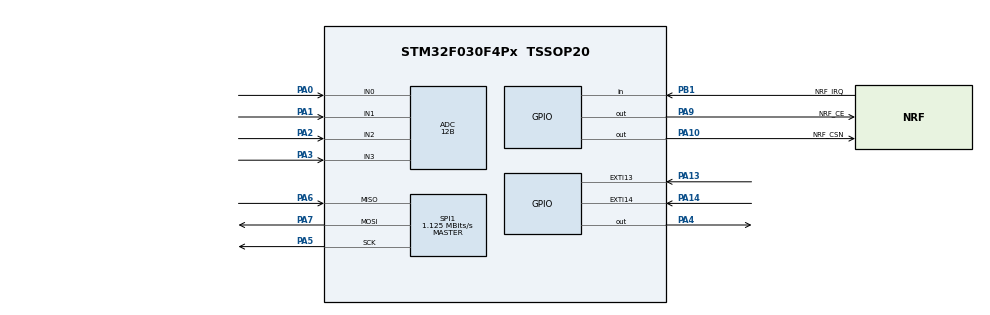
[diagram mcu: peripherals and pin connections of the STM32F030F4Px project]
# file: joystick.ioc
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ADC.ClockPrescaler=ADC_CLOCK_ASYNC_DIV1
ADC.ContinuousConvMode=ENABLE
ADC.DMAContinuousRequests=ENABLE
ADC.DataAlign=ADC_DATAALIGN_RIGHT
ADC.DiscontinuousConvMode=DISABLE
ADC.EOCSelection=ADC_EOC_SINGLE_CONV
ADC.EnableAnalogWatchDog=false
ADC.ExternalTrigConv=ADC_SOFTWARE_START
ADC.ExternalTrigConvEdge=ADC_EXTERNALTRIGCONVEDGE_NONE
ADC.LowPowerAutoPowerOff=DISABLE
ADC.LowPowerAutoWait=DISABLE
ADC.Overrun=ADC_OVR_DATA_PRESERVED
ADC.Resolution=ADC_RESOLUTION_12B
ADC.SamplingTime=ADC_SAMPLETIME_239CYCLES_5
ADC.ScanConvMode=ADC_SCAN_DIRECTION_FORWARD
Dma.ADC.0.Direction=DMA_PERIPH_TO_MEMORY
Dma.ADC.0.Instance=DMA1_Channel1
Dma.ADC.0.MemDataAlignment=DMA_MDATAALIGN_WORD
Dma.ADC.0.MemInc=DMA_MINC_ENABLE
Dma.ADC.0.Mode=DMA_CIRCULAR
Dma.ADC.0.PeriphDataAlignment=DMA_PDATAALIGN_WORD
Dma.ADC.0.PeriphInc=DMA_PINC_DISABLE
Dma.ADC.0.Priority=DMA_PRIORITY_HIGH
Dma.Request0=ADC
Mcu.Family=STM32F0
Mcu.Name=STM32F030F4Px
Mcu.Package=TSSOP20
NVIC.DMA1_Channel1_IRQn=true\:0\:0\:false\:false\:true\:false
NVIC.EXTI4_15_IRQn=true\:1\:0\:true\:true\:true\:1\:true
PA0.GPIO_Mode=GPIO_MODE_ANALOG
PA0.GPIO_PuPd=GPIO_NOPULL
PA0.Mode=IN0
PA0.Signal=ADC_IN0
PA1.GPIO_Mode=GPIO_MODE_ANALOG
PA1.GPIO_PuPd=GPIO_NOPULL
PA1.Mode=IN1
PA1.Signal=ADC_IN1
PA10.GPIO_FMA10=SYSCFG_CFGR1_I2C_FMP_PA10
PA10.GPIO_Label=NRF_CSN
PA10.GPIO_ModeDefaultOutputPP=GPIO_MODE_OUTPUT_PP
PA10.GPIO_PuPd=GPIO_NOPULL
PA10.GPIO_Speed=GPIO_SPEED_FREQ_HIGH
PA10.PinState=GPIO_PIN_RESET
PA10.Signal=GPIO_Output
PA13.GPIO_ModeDefaultEXTI=GPIO_MODE_IT_FALLING
PA13.GPIO_PuPd=GPIO_PULLUP
PA13.Signal=GPXTI13
PA14.GPIO_ModeDefaultEXTI=GPIO_MODE_IT_RISING
PA14.GPIO_PuPd=GPIO_PULLDOWN
PA14.Signal=GPXTI14
PA2.GPIO_Mode=GPIO_MODE_ANALOG
PA2.GPIO_PuPd=GPIO_NOPULL
PA2.Mode=IN2
PA2.Signal=ADC_IN2
PA3.GPIO_Mode=GPIO_MODE_ANALOG
PA3.GPIO_PuPd=GPIO_NOPULL
PA3.Mode=IN3
PA3.Signal=ADC_IN3
PA4.GPIO_ModeDefaultOutputPP=GPIO_MODE_OUTPUT_PP
PA4.GPIO_PuPd=GPIO_NOPULL
PA4.GPIO_Speed=GPIO_SPEED_FREQ_HIGH
PA4.PinState=GPIO_PIN_RESET
PA4.Signal=GPIO_Output
PA5.Mode=Full_Duplex_Master
PA5.Signal=SPI1_SCK
PA6.Mode=Full_Duplex_Master
PA6.Signal=SPI1_MISO
PA7.Mode=Full_Duplex_Master
PA7.Signal=SPI1_MOSI
PA9.GPIO_FMA9=SYSCFG_CFGR1_I2C_FMP_PA9
PA9.GPIO_Label=NRF_CE
PA9.GPIO_ModeDefaultOutputPP=GPIO_MODE_OUTPUT_PP
PA9.GPIO_PuPd=GPIO_NOPULL
PA9.GPIO_Speed=GPIO_SPEED_FREQ_HIGH
PA9.PinState=GPIO_PIN_RESET
PA9.Signal=GPIO_Output
PB1.GPIO_Label=NRF_IRQ
PB1.GPIO_Mode=GPIO_MODE_INPUT
PB1.GPIO_PuPd=GPIO_NOPULL
PB1.Signal=GPIO_Input
PF0-OSC_IN.Mode=HSE-External-Oscillator
PF0-OSC_IN.Signal=RCC_OSC_IN
PF1-OSC_OUT.Mode=HSE-External-Oscillator
PF1-OSC_OUT.Signal=RCC_OSC_OUT
ProjectManager.HeapSize=0x200
ProjectManager.StackSize=0x400
ProjectManager.TargetToolchain=MDK-ARM V5
RCC.AHBFreq_Value=36000000
RCC.APB1CLKDivider=RCC_HCLK_DIV2
RCC.APB1Freq_Value=18000000
RCC.APB1TimFreq_Value=36000000
RCC.EnbaleCSS=true
RCC.HCLKFreq_Value=36000000
RCC.PLLDivider=RCC_PREDIV_DIV2
RCC.PLLMUL=RCC_PLL_MUL9
RCC.PLLSourceVirtual=RCC_PLLSOURCE_HSE
RCC.SYSCLKFreq_VALUE=36000000
RCC.SYSCLKSource=RCC_SYSCLKSOURCE_PLLCLK
SPI1.BaudRatePrescaler=SPI_BAUDRATEPRESCALER_16
SPI1.CLKPhase=SPI_PHASE_1EDGE
SPI1.CLKPolarity=SPI_POLARITY_LOW
SPI1.CalculateBaudRate=1.125 MBits/s
SPI1.DataSize=SPI_DATASIZE_8BIT
SPI1.Direction=SPI_DIRECTION_2LINES
SPI1.Mode=SPI_MODE_MASTER
SPI1.NSSPMode=SPI_NSS_PULSE_DISABLE
SPI1.VirtualType=VM_MASTER
board=joystick

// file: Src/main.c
/**
  ******************************************************************************
  * @file           : main.c
  * @brief          : Main program body
  ******************************************************************************
  ** This notice applies to any and all portions of this file
  * that are not between comment pairs USER CODE BEGIN and
  * USER CODE END. Other portions of this file, whether
  * inserted by the user or by software development tools
  * are owned by their respective copyright owners.
  *
  * COPYRIGHT(c) 2018 STMicroelectronics
  *
  * Redistribution and use in source and binary forms, with or without modification,
  * are permitted provided that the following conditions are met:
  *   1. Redistributions of source code must retain the above copyright notice,
  *      this list of conditions and the following disclaimer.
  *   2. Redistributions in binary form must reproduce the above copyright notice,
  *      this list of conditions and the following disclaimer in the documentation
  *      and/or other materials provided with the distribution.
  *   3. Neither the name of STMicroelectronics nor the names of its contributors
  *      may be used to endorse or promote products derived from this software
  *      without specific prior written permission.
  *
  * THIS SOFTWARE IS PROVIDED BY THE COPYRIGHT HOLDERS AND CONTRIBUTORS "AS IS"
  * AND ANY EXPRESS OR IMPLIED WARRANTIES, INCLUDING, BUT NOT LIMITED TO, THE
  * IMPLIED WARRANTIES OF MERCHANTABILITY AND FITNESS FOR A PARTICULAR PURPOSE ARE
  * DISCLAIMED. IN NO EVENT SHALL THE COPYRIGHT HOLDER OR CONTRIBUTORS BE LIABLE
  * FOR ANY DIRECT, INDIRECT, INCIDENTAL, SPECIAL, EXEMPLARY, OR CONSEQUENTIAL
  * DAMAGES (INCLUDING, BUT NOT LIMITED TO, PROCUREMENT OF SUBSTITUTE GOODS OR
  * SERVICES; LOSS OF USE, DATA, OR PROFITS; OR BUSINESS INTERRUPTION) HOWEVER
  * CAUSED AND ON ANY THEORY OF LIABILITY, WHETHER IN CONTRACT, STRICT LIABILITY,
  * OR TORT (INCLUDING NEGLIGENCE OR OTHERWISE) ARISING IN ANY WAY OUT OF THE USE
  * OF THIS SOFTWARE, EVEN IF ADVISED OF THE POSSIBILITY OF SUCH DAMAGE.
  *
  ******************************************************************************
  */
#include "main.h"
#include "stm32f0xx_hal.h"

/* USER CODE BEGIN Includes */
#include "BSP_NRF24L01.h"
#include "BSP_LED.h"
/* USER CODE END Includes */

ADC_HandleTypeDef hadc;
DMA_HandleTypeDef hdma_adc;

SPI_HandleTypeDef hspi1;

/* USER CODE BEGIN PV */
/* Private variables ---------------------------------------------------------*/
uint32_t ADC_Data[4];//12bits

uint8_t  J_LX_HF,J_LX_LE,J_LY_HF,J_LY_LE,J_RX_HF,J_RX_LE,J_RY_HF,J_RY_LE;//HF:High 4 bits  LE: Low 8 bits
uint8_t  Control=0;//0: NO Control and Do Nothing; 1:Start Fly and RemoteControl; 2:Stop Fly and Stay where it were ; 3:Stop ALL Motor;
uint8_t  Joy_Key_CON[9];
/* USER CODE END PV */

void SystemClock_Config(void);
static void MX_GPIO_Init(void);
static void MX_DMA_Init(void);
static void MX_SPI1_Init(void);
static void MX_ADC_Init(void);
static void MX_NVIC_Init(void);

/* USER CODE BEGIN PFP */
/* Private function prototypes -----------------------------------------------*/

/* USER CODE END PFP */

int main(void)
{

  /* MCU Configuration----------------------------------------------------------*/

  /* Reset of all peripherals, Initializes the Flash interface and the Systick. */
  HAL_Init();

  /* Configure the system clock */
  SystemClock_Config();

  /* Initialize all configured peripherals */
  MX_GPIO_Init();
  MX_DMA_Init();
  MX_SPI1_Init();
  MX_ADC_Init();

  /* Initialize interrupts */
  MX_NVIC_Init();
  /* USER CODE BEGIN 2 */

  while(NRF24L01_Check())
   {
	 ;
	 }
  Blink_LED(50,3);

  NRF24L01_TX_Mode();

  HAL_ADCEx_Calibration_Start(&hadc);
  HAL_ADC_Start_DMA(&hadc,ADC_Data,4);
  /* USER CODE END 2 */

  /* Infinite loop */
  while (1)
  {

  /* USER CODE BEGIN 3 */
	    switch(Control)
	   	{
	          case 0:
                         Joy_Key_CON[0]=Control;
                         if( NRF24L01_TxPacket( Joy_Key_CON )!=TX_OK)
		           {
		             Blink_LED(20,3);
		           }
                   break;

		  case 1:
			 J_LX_HF=(ADC_Data[0]&0xF00)>>8;
			 J_LX_LE=ADC_Data[0]&0xFF;
			 J_LY_HF=(ADC_Data[1]&0xF00)>>8;
			 J_LY_LE=ADC_Data[1]&0xFF;
			 J_RX_HF=(ADC_Data[2]&0xF00)>>8;
			 J_RX_LE=ADC_Data[2]&0xFF;
			 J_RY_HF=(ADC_Data[3]&0xF00)>>8;
			 J_RY_LE=ADC_Data[3]&0xFF;

			 Joy_Key_CON[0]=Control;
			 Joy_Key_CON[1]=J_LX_HF;
			 Joy_Key_CON[2]=J_LX_LE;
			 Joy_Key_CON[3]=J_LY_HF;
			 Joy_Key_CON[4]=J_LY_LE;
			 Joy_Key_CON[5]=J_RX_HF;
			 Joy_Key_CON[6]=J_RX_LE;
			 Joy_Key_CON[7]=J_RY_HF;
			 Joy_Key_CON[8]=J_RY_LE;
				if( NRF24L01_TxPacket( Joy_Key_CON )!=TX_OK)
						{
						 Blink_LED(20,3);
						}
		 break;

		case 2:
           Joy_Key_CON[0]=Control;
	         if( NRF24L01_TxPacket( Joy_Key_CON )!=TX_OK)
		       {
			       Blink_LED(20,3);
		       }
		 break;

	  	}

  }
  /* USER CODE END 3 */

}

void SystemClock_Config(void)
{

  LL_FLASH_SetLatency(LL_FLASH_LATENCY_1);

  if(LL_FLASH_GetLatency() != LL_FLASH_LATENCY_1)
  {
  Error_Handler();
  }
  LL_RCC_HSE_Enable();

   /* Wait till HSE is ready */
  while(LL_RCC_HSE_IsReady() != 1)
  {

  }
  LL_RCC_HSI14_Enable();

   /* Wait till HSI14 is ready */
  while(LL_RCC_HSI14_IsReady() != 1)
  {

  }
  LL_RCC_HSI14_SetCalibTrimming(16);

  LL_RCC_HSE_EnableCSS();

  LL_RCC_PLL_ConfigDomain_SYS(LL_RCC_PLLSOURCE_HSE_DIV_2, LL_RCC_PLL_MUL_9);

  LL_RCC_PLL_Enable();

   /* Wait till PLL is ready */
  while(LL_RCC_PLL_IsReady() != 1)
  {

  }
  LL_RCC_SetAHBPrescaler(LL_RCC_SYSCLK_DIV_1);

  LL_RCC_SetAPB1Prescaler(LL_RCC_APB1_DIV_2);

  LL_RCC_SetSysClkSource(LL_RCC_SYS_CLKSOURCE_PLL);

   /* Wait till System clock is ready */
  while(LL_RCC_GetSysClkSource() != LL_RCC_SYS_CLKSOURCE_STATUS_PLL)
  {

  }
  LL_Init1msTick(36000000);

  LL_SYSTICK_SetClkSource(LL_SYSTICK_CLKSOURCE_HCLK);

  LL_SetSystemCoreClock(36000000);

  LL_RCC_HSI14_EnableADCControl();

  /* SysTick_IRQn interrupt configuration */
  NVIC_SetPriority(SysTick_IRQn, 0);
}

/**
  * @brief NVIC Configuration.
  * @retval None
  */
static void MX_NVIC_Init(void)
{
  /* EXTI4_15_IRQn interrupt configuration */
  NVIC_SetPriority(EXTI4_15_IRQn, 1);
  NVIC_EnableIRQ(EXTI4_15_IRQn);
}

/* ADC init function */
static void MX_ADC_Init(void)
{

  ADC_ChannelConfTypeDef sConfig;

    /**Configure the global features of the ADC (Clock, Resolution, Data Alignment and number of conversion)
    */
  hadc.Instance = ADC1;
  hadc.Init.ClockPrescaler = ADC_CLOCK_ASYNC_DIV1;
  hadc.Init.Resolution = ADC_RESOLUTION_12B;
  hadc.Init.DataAlign = ADC_DATAALIGN_RIGHT;
  hadc.Init.ScanConvMode = ADC_SCAN_DIRECTION_FORWARD;
  hadc.Init.EOCSelection = ADC_EOC_SINGLE_CONV;
  hadc.Init.LowPowerAutoWait = DISABLE;
  hadc.Init.LowPowerAutoPowerOff = DISABLE;
  hadc.Init.ContinuousConvMode = ENABLE;
  hadc.Init.DiscontinuousConvMode = DISABLE;
  hadc.Init.ExternalTrigConv = ADC_SOFTWARE_START;
  hadc.Init.ExternalTrigConvEdge = ADC_EXTERNALTRIGCONVEDGE_NONE;
  hadc.Init.DMAContinuousRequests = ENABLE;
  hadc.Init.Overrun = ADC_OVR_DATA_PRESERVED;
  if (HAL_ADC_Init(&hadc) != HAL_OK)
  {
    _Error_Handler(__FILE__, __LINE__);
  }

    /**Configure for the selected ADC regular channel to be converted.
    */
  sConfig.Channel = ADC_CHANNEL_0;
  sConfig.Rank = ADC_RANK_CHANNEL_NUMBER;
  sConfig.SamplingTime = ADC_SAMPLETIME_239CYCLES_5;
  if (HAL_ADC_ConfigChannel(&hadc, &sConfig) != HAL_OK)
  {
    _Error_Handler(__FILE__, __LINE__);
  }

    /**Configure for the selected ADC regular channel to be converted.
    */
  sConfig.Channel = ADC_CHANNEL_1;
  if (HAL_ADC_ConfigChannel(&hadc, &sConfig) != HAL_OK)
  {
    _Error_Handler(__FILE__, __LINE__);
  }

    /**Configure for the selected ADC regular channel to be converted.
    */
  sConfig.Channel = ADC_CHANNEL_2;
  if (HAL_ADC_ConfigChannel(&hadc, &sConfig) != HAL_OK)
  {
    _Error_Handler(__FILE__, __LINE__);
  }

    /**Configure for the selected ADC regular channel to be converted.
    */
  sConfig.Channel = ADC_CHANNEL_3;
  if (HAL_ADC_ConfigChannel(&hadc, &sConfig) != HAL_OK)
  {
    _Error_Handler(__FILE__, __LINE__);
  }

}

/* SPI1 init function */
static void MX_SPI1_Init(void)
{

  /* SPI1 parameter configuration*/
  hspi1.Instance = SPI1;
  hspi1.Init.Mode = SPI_MODE_MASTER;
  hspi1.Init.Direction = SPI_DIRECTION_2LINES;
  hspi1.Init.DataSize = SPI_DATASIZE_8BIT;
  hspi1.Init.CLKPolarity = SPI_POLARITY_LOW;
  hspi1.Init.CLKPhase = SPI_PHASE_1EDGE;
  hspi1.Init.NSS = SPI_NSS_SOFT;
  hspi1.Init.BaudRatePrescaler = SPI_BAUDRATEPRESCALER_16;
  hspi1.Init.FirstBit = SPI_FIRSTBIT_MSB;
  hspi1.Init.TIMode = SPI_TIMODE_DISABLE;
  hspi1.Init.CRCCalculation = SPI_CRCCALCULATION_DISABLE;
  hspi1.Init.CRCPolynomial = 7;
  hspi1.Init.CRCLength = SPI_CRC_LENGTH_DATASIZE;
  hspi1.Init.NSSPMode = SPI_NSS_PULSE_DISABLE;
  if (HAL_SPI_Init(&hspi1) != HAL_OK)
  {
    _Error_Handler(__FILE__, __LINE__);
  }

}

static void MX_DMA_Init(void)
{
  /* DMA controller clock enable */
  __HAL_RCC_DMA1_CLK_ENABLE();

  /* DMA interrupt init */
  /* DMA1_Channel1_IRQn interrupt configuration */
  HAL_NVIC_SetPriority(DMA1_Channel1_IRQn, 0, 0);
  HAL_NVIC_EnableIRQ(DMA1_Channel1_IRQn);

}

/** Configure pins as
        * Analog
        * Input
        * Output
        * EVENT_OUT
        * EXTI
*/
static void MX_GPIO_Init(void)
{

  LL_GPIO_InitTypeDef GPIO_InitStruct;
  LL_EXTI_InitTypeDef EXTI_InitStruct;

  /* GPIO Ports Clock Enable */
  LL_AHB1_GRP1_EnableClock(LL_AHB1_GRP1_PERIPH_GPIOF);
  LL_AHB1_GRP1_EnableClock(LL_AHB1_GRP1_PERIPH_GPIOA);
  LL_AHB1_GRP1_EnableClock(LL_AHB1_GRP1_PERIPH_GPIOB);

  /**/
  LL_GPIO_ResetOutputPin(GPIOA, LL_GPIO_PIN_4);

  /**/
  LL_GPIO_ResetOutputPin(NRF_CE_GPIO_Port, NRF_CE_Pin);

  /**/
  LL_GPIO_ResetOutputPin(NRF_CSN_GPIO_Port, NRF_CSN_Pin);

  /**/
  GPIO_InitStruct.Pin = LL_GPIO_PIN_4;
  GPIO_InitStruct.Mode = LL_GPIO_MODE_OUTPUT;
  GPIO_InitStruct.Speed = LL_GPIO_SPEED_FREQ_HIGH;
  GPIO_InitStruct.OutputType = LL_GPIO_OUTPUT_PUSHPULL;
  GPIO_InitStruct.Pull = LL_GPIO_PULL_NO;
  LL_GPIO_Init(GPIOA, &GPIO_InitStruct);

  /**/
  GPIO_InitStruct.Pin = NRF_IRQ_Pin;
  GPIO_InitStruct.Mode = LL_GPIO_MODE_INPUT;
  GPIO_InitStruct.Pull = LL_GPIO_PULL_NO;
  LL_GPIO_Init(NRF_IRQ_GPIO_Port, &GPIO_InitStruct);

  /**/
  GPIO_InitStruct.Pin = NRF_CE_Pin;
  GPIO_InitStruct.Mode = LL_GPIO_MODE_OUTPUT;
  GPIO_InitStruct.Speed = LL_GPIO_SPEED_FREQ_HIGH;
  GPIO_InitStruct.OutputType = LL_GPIO_OUTPUT_PUSHPULL;
  GPIO_InitStruct.Pull = LL_GPIO_PULL_NO;
  LL_GPIO_Init(NRF_CE_GPIO_Port, &GPIO_InitStruct);

  /**/
  GPIO_InitStruct.Pin = NRF_CSN_Pin;
  GPIO_InitStruct.Mode = LL_GPIO_MODE_OUTPUT;
  GPIO_InitStruct.Speed = LL_GPIO_SPEED_FREQ_HIGH;
  GPIO_InitStruct.OutputType = LL_GPIO_OUTPUT_PUSHPULL;
  GPIO_InitStruct.Pull = LL_GPIO_PULL_NO;
  LL_GPIO_Init(NRF_CSN_GPIO_Port, &GPIO_InitStruct);

  /**/
  LL_SYSCFG_EnableFastModePlus(SYSCFG_CFGR1_I2C_FMP_PA9);

  /**/
  LL_SYSCFG_SetEXTISource(LL_SYSCFG_EXTI_PORTA, LL_SYSCFG_EXTI_LINE13);

  /**/
  LL_SYSCFG_SetEXTISource(LL_SYSCFG_EXTI_PORTA, LL_SYSCFG_EXTI_LINE14);

  /**/
  LL_GPIO_SetPinPull(GPIOA, LL_GPIO_PIN_13, LL_GPIO_PULL_UP);

  /**/
  LL_GPIO_SetPinPull(GPIOA, LL_GPIO_PIN_14, LL_GPIO_PULL_DOWN);

  /**/
  LL_GPIO_SetPinMode(GPIOA, LL_GPIO_PIN_13, LL_GPIO_MODE_INPUT);

  /**/
  LL_GPIO_SetPinMode(GPIOA, LL_GPIO_PIN_14, LL_GPIO_MODE_INPUT);

  /**/
  EXTI_InitStruct.Line_0_31 = LL_EXTI_LINE_13;
  EXTI_InitStruct.LineCommand = ENABLE;
  EXTI_InitStruct.Mode = LL_EXTI_MODE_IT;
  EXTI_InitStruct.Trigger = LL_EXTI_TRIGGER_FALLING;
  LL_EXTI_Init(&EXTI_InitStruct);

  /**/
  EXTI_InitStruct.Line_0_31 = LL_EXTI_LINE_14;
  EXTI_InitStruct.LineCommand = ENABLE;
  EXTI_InitStruct.Mode = LL_EXTI_MODE_IT;
  EXTI_InitStruct.Trigger = LL_EXTI_TRIGGER_RISING;
  LL_EXTI_Init(&EXTI_InitStruct);

}

void _Error_Handler(char *file, int line)
{
  while(1)
  {
  }
}

/************************ (C) COPYRIGHT STMicroelectronics *****END OF FILE****/
